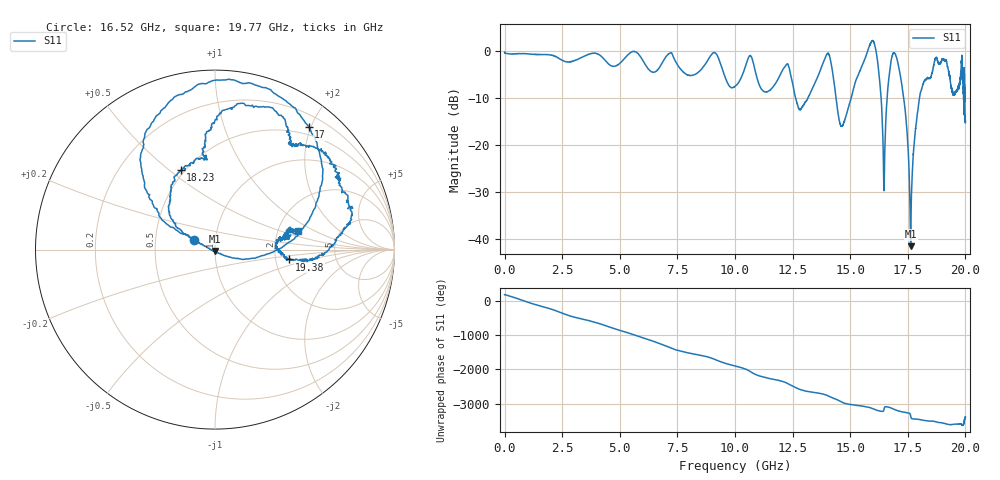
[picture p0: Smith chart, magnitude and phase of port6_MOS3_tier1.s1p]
! Created with skrf 1.8.0 (http://scikit-rf.org).
# GHz S RI R 50.0
!freq ReS11 ImS11
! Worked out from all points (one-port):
!   10001 points, 1 MHz to 20 GHz, reference 50 ohm
!   lowest |S11| = -41.6 dB at 17.62 GHz (marker M1), VSWR 1.02, Z = 49.7 - j0.792 ohm
!   |S11| at or under -10 dB: 12.63 GHz to 13.17 GHz (544.9 MHz wide, 4.22 % of centre); 14.39 GHz to 15.05 GHz (660.8 MHz wide, 4.49 % of centre); 17.32 GHz to 18.01 GHz (688.7 MHz wide, 3.9 % of centre) (the widest 3 of 8)
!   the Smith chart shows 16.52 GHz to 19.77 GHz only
!   S11 on the Smith chart (normalised r, x): 16.52 GHz: 0.79, +0.09; 17 GHz: 0.37, +1.96; 18.23 GHz: 0.48, +0.55; 19.38 GHz: 2.39, -0.32; 19.77 GHz: 2.57, +0.69
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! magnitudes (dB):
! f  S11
! 1 MHz  -0.3
! 2.501 GHz  -2.1
! 5.001 GHz  -2.7
! 7.501 GHz  -3.0
! 9.121 GHz  -0.4
! 10 GHz  -7.6
! 10.65 GHz  -1.1
! 11.24 GHz  -8.6
! 12.24 GHz  -2.9
! 12.5 GHz  -6.9
! 12.88 GHz  -12.3
! 14.03 GHz  -0.6
! 14.59 GHz  -15.9
! 15 GHz  -10.8
! 15.99 GHz  2.0
! 16.24 GHz  -4.5
! 16.43 GHz  -19.8
! 16.52 GHz  -17.8
! 16.74 GHz  -3.3
! 17 GHz  -1.3
! 17.5 GHz  -19.6
! 17.62 GHz  -41.6
! 17.92 GHz  -13.3
! 18.23 GHz  -6.3
! 19.07 GHz  -2.0
! 19.38 GHz  -7.6
! 19.77 GHz  -6.5
! 20 GHz  -14.9
